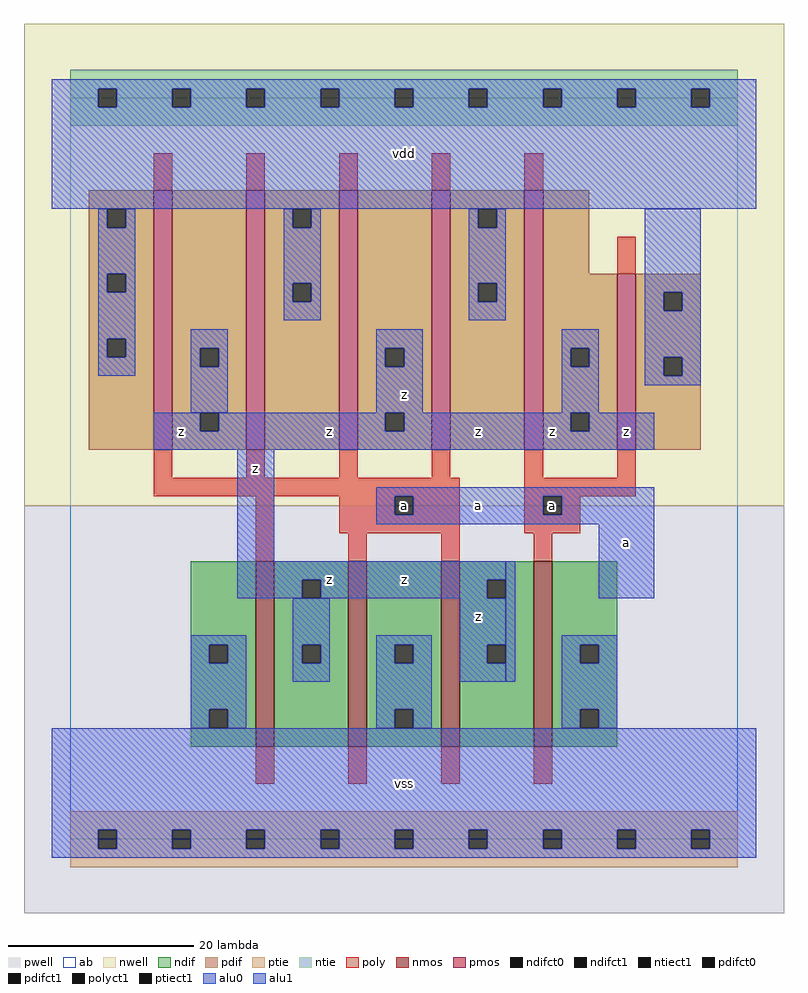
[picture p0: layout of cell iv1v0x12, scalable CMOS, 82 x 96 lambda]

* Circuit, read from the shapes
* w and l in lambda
.subckt iv1v0x12 a vdd vss z
M1 z a vss vss nfet w=20 l=2 m=4
M2 z a vdd vdd pfet w=28 l=2 m=5
M3 vdd a z vdd pfet w=19 l=2
.ends

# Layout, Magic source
magic
tech scmos
<< ab >>
rect 0 0 72 80
<< nwell >>
rect -5 36 77 88
<< pwell >>
rect -5 -8 77 36
<< poly >>
rect 9 70 11 74
rect 19 70 21 74
rect 29 70 31 74
rect 39 70 41 74
rect 49 70 51 74
rect 59 61 61 65
rect 9 39 11 42
rect 19 39 21 42
rect 29 39 31 42
rect 39 39 41 42
rect 49 39 51 42
rect 59 39 61 42
rect 9 37 42 39
rect 20 30 22 37
rect 29 35 35 37
rect 37 35 42 37
rect 29 33 42 35
rect 49 37 61 39
rect 49 35 51 37
rect 53 35 55 37
rect 49 33 55 35
rect 30 30 32 33
rect 40 30 42 33
rect 50 30 52 33
rect 20 6 22 10
rect 30 6 32 10
rect 40 6 42 10
rect 50 6 52 10
<< ndif >>
rect 13 21 20 30
rect 13 19 15 21
rect 17 19 20 21
rect 13 14 20 19
rect 13 12 15 14
rect 17 12 20 14
rect 13 10 20 12
rect 22 28 30 30
rect 22 26 25 28
rect 27 26 30 28
rect 22 21 30 26
rect 22 19 25 21
rect 27 19 30 21
rect 22 10 30 19
rect 32 21 40 30
rect 32 19 35 21
rect 37 19 40 21
rect 32 14 40 19
rect 32 12 35 14
rect 37 12 40 14
rect 32 10 40 12
rect 42 28 50 30
rect 42 26 45 28
rect 47 26 50 28
rect 42 21 50 26
rect 42 19 45 21
rect 47 19 50 21
rect 42 10 50 19
rect 52 21 59 30
rect 52 19 55 21
rect 57 19 59 21
rect 52 14 59 19
rect 52 12 55 14
rect 57 12 59 14
rect 52 10 59 12
<< pdif >>
rect 2 68 9 70
rect 2 66 4 68
rect 6 66 9 68
rect 2 61 9 66
rect 2 59 4 61
rect 6 59 9 61
rect 2 54 9 59
rect 2 52 4 54
rect 6 52 9 54
rect 2 42 9 52
rect 11 53 19 70
rect 11 51 14 53
rect 16 51 19 53
rect 11 46 19 51
rect 11 44 14 46
rect 16 44 19 46
rect 11 42 19 44
rect 21 68 29 70
rect 21 66 24 68
rect 26 66 29 68
rect 21 60 29 66
rect 21 58 24 60
rect 26 58 29 60
rect 21 42 29 58
rect 31 53 39 70
rect 31 51 34 53
rect 36 51 39 53
rect 31 46 39 51
rect 31 44 34 46
rect 36 44 39 46
rect 31 42 39 44
rect 41 68 49 70
rect 41 66 44 68
rect 46 66 49 68
rect 41 60 49 66
rect 41 58 44 60
rect 46 58 49 60
rect 41 42 49 58
rect 51 61 56 70
rect 51 53 59 61
rect 51 51 54 53
rect 56 51 59 53
rect 51 46 59 51
rect 51 44 54 46
rect 56 44 59 46
rect 51 42 59 44
rect 61 59 68 61
rect 61 57 64 59
rect 66 57 68 59
rect 61 52 68 57
rect 61 50 64 52
rect 66 50 68 52
rect 61 42 68 50
<< alu1 >>
rect -2 81 74 82
rect -2 79 3 81
rect 5 79 11 81
rect 13 79 19 81
rect 21 79 27 81
rect 29 79 35 81
rect 37 79 43 81
rect 45 79 51 81
rect 53 79 59 81
rect 61 79 67 81
rect 69 79 74 81
rect -2 68 74 79
rect 33 53 38 55
rect 33 51 34 53
rect 36 51 38 53
rect 33 46 38 51
rect 53 53 57 55
rect 53 51 54 53
rect 56 51 57 53
rect 53 46 57 51
rect 9 44 14 46
rect 16 44 34 46
rect 36 44 54 46
rect 56 44 63 46
rect 9 42 63 44
rect 18 30 22 42
rect 33 37 63 38
rect 33 35 35 37
rect 37 35 51 37
rect 53 35 63 37
rect 33 34 63 35
rect 18 28 47 30
rect 18 26 25 28
rect 27 26 45 28
rect 42 21 47 26
rect 42 19 45 21
rect 42 17 47 19
rect 57 26 63 34
rect -2 1 74 12
rect -2 -1 3 1
rect 5 -1 11 1
rect 13 -1 19 1
rect 21 -1 27 1
rect 29 -1 35 1
rect 37 -1 43 1
rect 45 -1 51 1
rect 53 -1 59 1
rect 61 -1 67 1
rect 69 -1 74 1
rect -2 -2 74 -1
<< ptie >>
rect 0 1 72 3
rect 0 -1 3 1
rect 5 -1 11 1
rect 13 -1 19 1
rect 21 -1 27 1
rect 29 -1 35 1
rect 37 -1 43 1
rect 45 -1 51 1
rect 53 -1 59 1
rect 61 -1 67 1
rect 69 -1 72 1
rect 0 -3 72 -1
<< ntie >>
rect 0 81 72 83
rect 0 79 3 81
rect 5 79 11 81
rect 13 79 19 81
rect 21 79 27 81
rect 29 79 35 81
rect 37 79 43 81
rect 45 79 51 81
rect 53 79 59 81
rect 61 79 67 81
rect 69 79 72 81
rect 0 77 72 79
<< nmos >>
rect 20 10 22 30
rect 30 10 32 30
rect 40 10 42 30
rect 50 10 52 30
<< pmos >>
rect 9 42 11 70
rect 19 42 21 70
rect 29 42 31 70
rect 39 42 41 70
rect 49 42 51 70
rect 59 42 61 61
<< polyct1 >>
rect 35 35 37 37
rect 51 35 53 37
<< ndifct0 >>
rect 15 19 17 21
rect 15 12 17 14
rect 25 19 27 21
rect 35 19 37 21
rect 35 12 37 14
rect 55 19 57 21
rect 55 12 57 14
<< ndifct1 >>
rect 25 26 27 28
rect 45 26 47 28
rect 45 19 47 21
<< ntiect1 >>
rect 3 79 5 81
rect 11 79 13 81
rect 19 79 21 81
rect 27 79 29 81
rect 35 79 37 81
rect 43 79 45 81
rect 51 79 53 81
rect 59 79 61 81
rect 67 79 69 81
<< ptiect1 >>
rect 3 -1 5 1
rect 11 -1 13 1
rect 19 -1 21 1
rect 27 -1 29 1
rect 35 -1 37 1
rect 43 -1 45 1
rect 51 -1 53 1
rect 59 -1 61 1
rect 67 -1 69 1
<< pdifct0 >>
rect 4 66 6 68
rect 4 59 6 61
rect 4 52 6 54
rect 14 51 16 53
rect 24 66 26 68
rect 24 58 26 60
rect 44 66 46 68
rect 44 58 46 60
rect 64 57 66 59
rect 64 50 66 52
<< pdifct1 >>
rect 14 44 16 46
rect 34 51 36 53
rect 34 44 36 46
rect 54 51 56 53
rect 54 44 56 46
<< alu0 >>
rect 3 66 4 68
rect 6 66 7 68
rect 3 61 7 66
rect 3 59 4 61
rect 6 59 7 61
rect 3 54 7 59
rect 23 66 24 68
rect 26 66 27 68
rect 23 60 27 66
rect 23 58 24 60
rect 26 58 27 60
rect 23 56 27 58
rect 43 66 44 68
rect 46 66 47 68
rect 43 60 47 66
rect 43 58 44 60
rect 46 58 47 60
rect 43 56 47 58
rect 62 59 68 68
rect 62 57 64 59
rect 66 57 68 59
rect 3 52 4 54
rect 6 52 7 54
rect 3 50 7 52
rect 13 53 17 55
rect 13 51 14 53
rect 16 51 17 53
rect 13 46 17 51
rect 62 52 68 57
rect 62 50 64 52
rect 66 50 68 52
rect 62 49 68 50
rect 13 21 19 22
rect 13 19 15 21
rect 17 19 19 21
rect 13 14 19 19
rect 24 21 28 26
rect 24 19 25 21
rect 27 19 28 21
rect 24 17 28 19
rect 33 21 39 22
rect 33 19 35 21
rect 37 19 39 21
rect 13 12 15 14
rect 17 12 19 14
rect 33 14 39 19
rect 47 17 48 30
rect 53 21 59 22
rect 53 19 55 21
rect 57 19 59 21
rect 33 12 35 14
rect 37 12 39 14
rect 53 14 59 19
rect 53 12 55 14
rect 57 12 59 14
<< labels >>
rlabel alu1 12 44 12 44 6 z
rlabel alu1 28 28 28 28 6 z
rlabel alu1 28 44 28 44 6 z
rlabel alu1 20 40 20 40 6 z
rlabel alu1 36 6 36 6 6 vss
rlabel alu1 36 28 36 28 6 z
rlabel polyct1 36 36 36 36 6 a
rlabel alu1 44 36 44 36 6 a
rlabel polyct1 52 36 52 36 6 a
rlabel alu1 44 24 44 24 6 z
rlabel alu1 44 44 44 44 6 z
rlabel alu1 52 44 52 44 6 z
rlabel alu1 36 48 36 48 6 z
rlabel alu1 36 74 36 74 6 vdd
rlabel alu1 60 32 60 32 6 a
rlabel alu1 60 44 60 44 6 z
<< end >>
